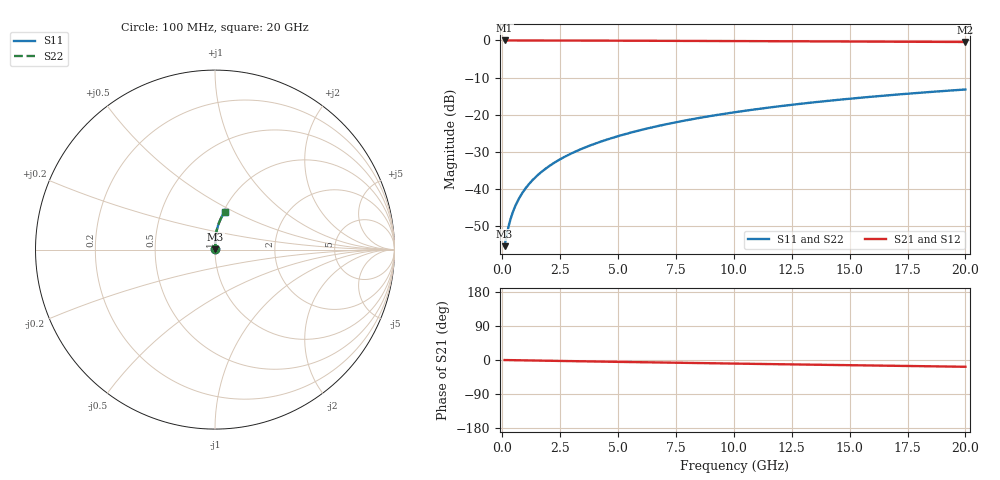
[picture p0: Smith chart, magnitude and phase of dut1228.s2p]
! Touchstone file exported from HFSS 2024.1.0
!  File:  C:/UserFiles/LocalFiles/RDL_TSV_Batchsim/temp_RDL_bottom_1228_1780244432.aedt
!  Generated:  12:22:59 AM Jun  1, 2026
!  Design:  RDL_bottom
!  Project:  temp_RDL_bottom_1228_1780244432
!  Setup:  Setup1
!  Solution:  Sweep
! Variables:
!  dtsv = 10.80580581um
!  hbump = 3um
!  htsv = 75.24um
!  ldown = 185.3um
!  lrdl = 100um
!  p = 40
!  p1 = 59.71um
!  rhole = 1um
!  t = 450um
!  tdown = 2.86um
!  trdl = 3.915915916um
!  wdown = 21.47um
!  wrdl = 20um
# GHz S MA R 50.000000
! Terminal data exported
! Port[1] = RDL1_T1
! Port[2] = RDL1_T2
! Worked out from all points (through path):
!   200 points, 100 MHz to 20 GHz, reference 50 ohm
!   highest |S21| = -0.01 dB at 100 MHz (marker M1); lowest = -0.4 dB at 20 GHz (marker M2)
!   group delay of S21, straight-line fit = 2.46 ps
!   lowest |S11| = -55.3 dB at 100 MHz (marker M3), VSWR 1.00, Z = 50.1 + j0.106 ohm
!   |S11| at or under -10 dB: start of sweep to end of sweep
!   |S22| runs from -55.3 to -13.2 dB; largest |S21 - S12| = 4.1e-15
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0.1  0.001714 38.3  0.9987 -0.1  0.9987 -0.1  0.001714 38.3
! Gamma 0 0 0 0
! Port Impedance 50 0 50 0
0.2  0.002519 56.7  0.9986 -0.2  0.9986 -0.2  0.002519 56.7
0.3  0.003439 65.5  0.9985 -0.3  0.9985 -0.3  0.003439 65.5
0.4  0.004387 70.5  0.9985 -0.4  0.9985 -0.4  0.004387 70.5
0.5  0.005346 73.7  0.9984 -0.5  0.9984 -0.5  0.005346 73.7
0.6  0.00631 76.1  0.9983 -0.6  0.9983 -0.6  0.00631 76.1
0.8  0.008253 79.2  0.9982 -0.8  0.9982 -0.8  0.008253 79.2
1.1  0.0112 81.9  0.998 -1.1  0.998 -1.1  0.0112 81.9
1.5  0.01516 84.0  0.9977 -1.5  0.9977 -1.5  0.01516 84.0
1.8  0.01817 85.0  0.9974 -1.8  0.9974 -1.8  0.01817 85.0
2.1  0.02119 85.8  0.9971 -2.1  0.9971 -2.1  0.02119 85.7
2.7  0.02731 86.7  0.9963 -2.7  0.9963 -2.7  0.02731 86.7
3.5  0.03561 87.4  0.995 -3.5  0.995 -3.5  0.03561 87.4
4.2  0.04301 87.6  0.9937 -4.2  0.9937 -4.2  0.04301 87.6
5  0.05162 87.7  0.9921 -4.9  0.9921 -4.9  0.05162 87.7
5.9  0.06149 87.5  0.9901 -5.8  0.9901 -5.8  0.06149 87.5
6.8  0.07151 87.1  0.9879 -6.6  0.9879 -6.6  0.0715 87.1
8.4  0.08958 86.1  0.984 -8.0  0.984 -8.0  0.08957 86.1
10.1  0.109 84.8  0.9797 -9.5  0.9797 -9.5  0.1089 84.8
13.4  0.1465 81.8  0.9711 -12.4  0.9711 -12.4  0.1465 81.8
16.7  0.1833 78.8  0.962 -15.1  0.962 -15.1  0.1833 78.8
20  0.219 75.7  0.9525 -17.9  0.9525 -17.9  0.219 75.7
